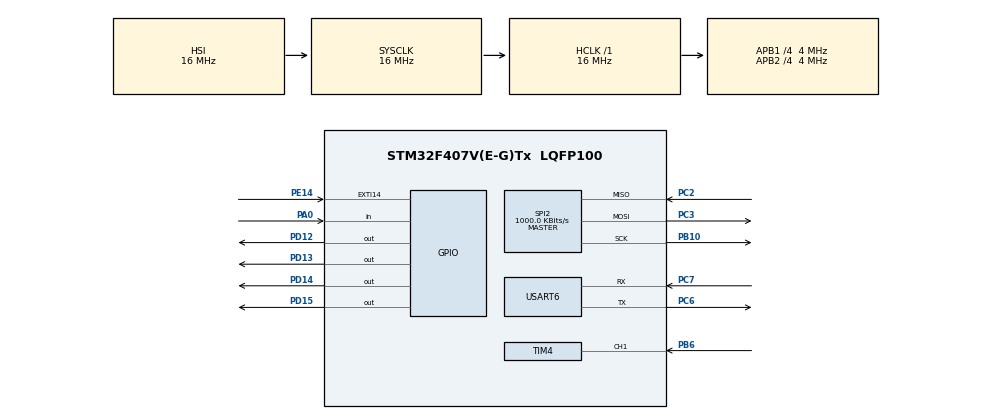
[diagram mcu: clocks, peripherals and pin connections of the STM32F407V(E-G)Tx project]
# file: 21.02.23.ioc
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Mcu.Family=STM32F4
Mcu.Name=STM32F407V(E-G)Tx
Mcu.Package=LQFP100
NVIC.EXTI15_10_IRQn=true\:0\:0\:false\:false\:true\:true\:true\:true
NVIC.PriorityGroup=NVIC_PRIORITYGROUP_0
PA0-WKUP.Signal=GPIO_Input
PA13.Mode=Serial_Wire
PA13.Signal=SYS_JTMS-SWDIO
PA14.Mode=Serial_Wire
PA14.Signal=SYS_JTCK-SWCLK
PB10.Mode=Full_Duplex_Master
PB10.Signal=SPI2_SCK
PB6.Signal=S_TIM4_CH1
PC2.Mode=Full_Duplex_Master
PC2.Signal=SPI2_MISO
PC3.Mode=Full_Duplex_Master
PC3.Signal=SPI2_MOSI
PC6.Mode=Asynchronous
PC6.Signal=USART6_TX
PC7.Mode=Asynchronous
PC7.Signal=USART6_RX
PD12.Signal=GPIO_Output
PD13.Signal=GPIO_Output
PD14.Signal=GPIO_Output
PD15.Signal=GPIO_Output
PE14.Signal=GPXTI14
ProjectManager.HeapSize=0x200
ProjectManager.StackSize=0x400
ProjectManager.TargetToolchain=MDK-ARM V5.32
RCC.48MHZClocksFreq_Value=96000000
RCC.AHBFreq_Value=16000000
RCC.APB1CLKDivider=RCC_HCLK_DIV4
RCC.APB1Freq_Value=4000000
RCC.APB1TimFreq_Value=8000000
RCC.APB2CLKDivider=RCC_HCLK_DIV4
RCC.APB2Freq_Value=4000000
RCC.APB2TimFreq_Value=8000000
RCC.CortexFreq_Value=16000000
RCC.HCLKFreq_Value=16000000
RCC.HSE_VALUE=8000000
RCC.HSI_VALUE=16000000
RCC.LSE_VALUE=32768
RCC.PLLM=8
RCC.PLLN=336
RCC.PLLQ=7
RCC.SYSCLKFreq_VALUE=16000000
RCC.VCOOutputFreq_Value=672000000
SH.S_TIM4_CH1.0=TIM4_CH1,Input_Capture1_from_TI1
SPI2.BaudRatePrescaler=SPI_BAUDRATEPRESCALER_4
SPI2.CalculateBaudRate=1000.0 KBits/s
SPI2.Direction=SPI_DIRECTION_2LINES
SPI2.Mode=SPI_MODE_MASTER
SPI2.VirtualType=VM_MASTER
TIM4.Channel-Input_Capture1_from_TI1=TIM_CHANNEL_1
TIM4.ICFilter_CH1=4
TIM4.ICPolarity_CH1=TIM_INPUTCHANNELPOLARITY_BOTHEDGE
TIM4.Prescaler=16-1
USART6.VirtualMode=VM_ASYNC
VP_TIM4_VS_ClockSourceINT.Mode=Internal
board=STM32F407G-DISC1

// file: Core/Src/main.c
/* USER CODE BEGIN Header */
/**
  ******************************************************************************
  * @file           : main.c
  * @brief          : Main program body
  ******************************************************************************
  * @attention
  *
  * Copyright (c) 2023 STMicroelectronics.
  * All rights reserved.
  *
  * This software is licensed under terms that can be found in the LICENSE file
  * in the root directory of this software component.
  * If no LICENSE file comes with this software, it is provided AS-IS.
  *
  ******************************************************************************
  */
/* USER CODE END Header */
#include "main.h"

/* USER CODE BEGIN Includes */
 #include <stdio.h>
/* USER CODE END Includes */

/* USER CODE BEGIN PTD */
 #define PUTCHAR_PROTOTYPE int fputc(int ch, FILE *f)
/* USER CODE END PTD */

/* USER CODE BEGIN PD */

 /************************************************************
* TDC7200 REGISTER SET ADDRESSES
************************************************************/

#define TDC7200_CONFIG1_REG						        0x00
#define TDC7200_CONFIG2_REG						        0x01
#define TDC7200_INTRPT_STATUS_REG			      	0x02
#define TDC7200_INTRPT_MASK_REG				      	0x03
#define TDC7200_COARSE_COUNTER_OVH_REG		  	0x04
#define TDC7200_COARSE_COUNTER_OVL_REG		  	0x05
#define TDC7200_CLOCK_COUNTER_OVH_REG			    0x06
#define TDC7200_CLOCK_COUNTER_OVL_REG		    	0x07
#define TDC7200_CLOCK_COUNTER_STOP_MASKH_REG	0x08
#define TDC7200_CLOCK_COUNTER_STOP_MASKL_REG	0x09

#define TDC7200_TIME1_REG						          0x10
#define TDC7200_CLOCK_COUNT1_REG				      0x11
#define TDC7200_TIME2_REG						          0x12
#define TDC7200_CLOCK_COUNT2_REG				      0x13
#define TDC7200_TIME3_REG						          0x14
#define TDC7200_CLOCK_COUNT3_REG				      0x15
#define TDC7200_TIME4_REG						          0x16
#define TDC7200_CLOCK_COUNT4_REG				      0x17
#define TDC7200_TIME5_REG						          0x18
#define TDC7200_CLOCK_COUNT5_REG				      0x19
#define TDC7200_TIME6_REG						          0x1A
#define TDC7200_CALIBRATION1_REG				      0x1B
#define TDC7200_CALIBRATION2_REG				      0x1C

#define TDC7200_TOTAL_NUM_CONFIG_REG			    10
#define TDC7200_TOTAL_NUM_RESULT_REG			    39
#define NUM_STOP                              5
#define usTIM TIM4
/* USER CODE END PD */

SPI_HandleTypeDef hspi2;

TIM_HandleTypeDef htim4;

UART_HandleTypeDef huart6;

/* USER CODE BEGIN PV */
	uint8_t b[2],i,upbuff[TDC7200_TOTAL_NUM_RESULT_REG],dnbuff[TDC7200_TOTAL_NUM_RESULT_REG];
	uint8_t TDC7200_reg_local_copy[10] = {0x03, 0x44, 0x00, 0x07, 0xFF, 0xFF, 0xFF, 0xFF, 0x00, 0x00};
	long int uCal[2],uTime[6],uClk[5],dTime[6],dClk[5],dCal[2];
	long double TOF[6],T12=0,T21=0,dTOF,mTOF,vel,flow;
/* USER CODE END PV */

void SystemClock_Config(void);
static void MX_GPIO_Init(void);
static void MX_SPI2_Init(void);
static void MX_USART6_UART_Init(void);
static void MX_TIM4_Init(void);
/* USER CODE BEGIN PFP */
	void TDC7200_reg_read(void);
	void TDC7200_reg_config(void);
	void pulse_gen(void);
	void cal_tof(void);
	void tdc_trigger_measure(void);
	void tdc_trigger_common(uint8_t *buf);
	void usDelay(uint32_t uSec);
//	void AutoReadReg(uint8_t *buffer);

/* USER CODE END PFP */

int main(void)
{

  /* MCU Configuration--------------------------------------------------------*/

  /* Reset of all peripherals, Initializes the Flash interface and the Systick. */
  HAL_Init();

  /* Configure the system clock */
  SystemClock_Config();

  /* Initialize all configured peripherals */
  MX_GPIO_Init();
  MX_SPI2_Init();
  MX_USART6_UART_Init();
  MX_TIM4_Init();
  /* USER CODE BEGIN 2 */
	printf("\n\n\n ");
	printf("\n\r..................................................\n\r ");
	printf("\n\r..........Ultrasonic Water Flow Meter..............\n\r ");

	HAL_GPIO_WritePin(GPIOD, GPIO_PIN_14, GPIO_PIN_RESET);
	HAL_Delay(50);
	HAL_GPIO_WritePin(GPIOD, GPIO_PIN_14, GPIO_PIN_SET);//en
  TDC7200_reg_config();
	//TDC7200_reg_read();
	tdc_trigger_measure();
	//pulse_gen();
	cal_tof();
	//TDC7200_reg_read();
	HAL_GPIO_WritePin(GPIOD, GPIO_PIN_14, GPIO_PIN_RESET);//dis
  /* USER CODE END 2 */

  /* Infinite loop */
	while (1)
	{

	}
}

void SystemClock_Config(void)
{
  RCC_OscInitTypeDef RCC_OscInitStruct = {0};
  RCC_ClkInitTypeDef RCC_ClkInitStruct = {0};

  /** Configure the main internal regulator output voltage
  */
  __HAL_RCC_PWR_CLK_ENABLE();
  __HAL_PWR_VOLTAGESCALING_CONFIG(PWR_REGULATOR_VOLTAGE_SCALE1);

  /** Initializes the RCC Oscillators according to the specified parameters
  * in the RCC_OscInitTypeDef structure.
  */
  RCC_OscInitStruct.OscillatorType = RCC_OSCILLATORTYPE_HSI;
  RCC_OscInitStruct.HSIState = RCC_HSI_ON;
  RCC_OscInitStruct.HSICalibrationValue = RCC_HSICALIBRATION_DEFAULT;
  RCC_OscInitStruct.PLL.PLLState = RCC_PLL_NONE;
  if (HAL_RCC_OscConfig(&RCC_OscInitStruct) != HAL_OK)
  {
    Error_Handler();
  }

  /** Initializes the CPU, AHB and APB buses clocks
  */
  RCC_ClkInitStruct.ClockType = RCC_CLOCKTYPE_HCLK|RCC_CLOCKTYPE_SYSCLK
                              |RCC_CLOCKTYPE_PCLK1|RCC_CLOCKTYPE_PCLK2;
  RCC_ClkInitStruct.SYSCLKSource = RCC_SYSCLKSOURCE_HSI;
  RCC_ClkInitStruct.AHBCLKDivider = RCC_SYSCLK_DIV1;
  RCC_ClkInitStruct.APB1CLKDivider = RCC_HCLK_DIV4;
  RCC_ClkInitStruct.APB2CLKDivider = RCC_HCLK_DIV4;

  if (HAL_RCC_ClockConfig(&RCC_ClkInitStruct, FLASH_LATENCY_0) != HAL_OK)
  {
    Error_Handler();
  }
}

static void MX_SPI2_Init(void)
{

  /* SPI2 parameter configuration*/
  hspi2.Instance = SPI2;
  hspi2.Init.Mode = SPI_MODE_MASTER;
  hspi2.Init.Direction = SPI_DIRECTION_2LINES;
  hspi2.Init.DataSize = SPI_DATASIZE_8BIT;
  hspi2.Init.CLKPolarity = SPI_POLARITY_LOW;
  hspi2.Init.CLKPhase = SPI_PHASE_1EDGE;
  hspi2.Init.NSS = SPI_NSS_SOFT;
  hspi2.Init.BaudRatePrescaler = SPI_BAUDRATEPRESCALER_4;
  hspi2.Init.FirstBit = SPI_FIRSTBIT_MSB;
  hspi2.Init.TIMode = SPI_TIMODE_DISABLE;
  hspi2.Init.CRCCalculation = SPI_CRCCALCULATION_DISABLE;
  hspi2.Init.CRCPolynomial = 10;
  if (HAL_SPI_Init(&hspi2) != HAL_OK)
  {
    Error_Handler();
  }

}

static void MX_TIM4_Init(void)
{

  TIM_ClockConfigTypeDef sClockSourceConfig = {0};
  TIM_MasterConfigTypeDef sMasterConfig = {0};
  TIM_IC_InitTypeDef sConfigIC = {0};

  htim4.Instance = TIM4;
  htim4.Init.Prescaler = 16-1;
  htim4.Init.CounterMode = TIM_COUNTERMODE_UP;
  htim4.Init.Period = 65535;
  htim4.Init.ClockDivision = TIM_CLOCKDIVISION_DIV1;
  htim4.Init.AutoReloadPreload = TIM_AUTORELOAD_PRELOAD_DISABLE;
  if (HAL_TIM_Base_Init(&htim4) != HAL_OK)
  {
    Error_Handler();
  }
  sClockSourceConfig.ClockSource = TIM_CLOCKSOURCE_INTERNAL;
  if (HAL_TIM_ConfigClockSource(&htim4, &sClockSourceConfig) != HAL_OK)
  {
    Error_Handler();
  }
  if (HAL_TIM_IC_Init(&htim4) != HAL_OK)
  {
    Error_Handler();
  }
  sMasterConfig.MasterOutputTrigger = TIM_TRGO_RESET;
  sMasterConfig.MasterSlaveMode = TIM_MASTERSLAVEMODE_DISABLE;
  if (HAL_TIMEx_MasterConfigSynchronization(&htim4, &sMasterConfig) != HAL_OK)
  {
    Error_Handler();
  }
  sConfigIC.ICPolarity = TIM_INPUTCHANNELPOLARITY_BOTHEDGE;
  sConfigIC.ICSelection = TIM_ICSELECTION_DIRECTTI;
  sConfigIC.ICPrescaler = TIM_ICPSC_DIV1;
  sConfigIC.ICFilter = 4;
  if (HAL_TIM_IC_ConfigChannel(&htim4, &sConfigIC, TIM_CHANNEL_1) != HAL_OK)
  {
    Error_Handler();
  }

}

static void MX_USART6_UART_Init(void)
{

  huart6.Instance = USART6;
  huart6.Init.BaudRate = 115200;
  huart6.Init.WordLength = UART_WORDLENGTH_8B;
  huart6.Init.StopBits = UART_STOPBITS_1;
  huart6.Init.Parity = UART_PARITY_NONE;
  huart6.Init.Mode = UART_MODE_TX_RX;
  huart6.Init.HwFlowCtl = UART_HWCONTROL_NONE;
  huart6.Init.OverSampling = UART_OVERSAMPLING_16;
  if (HAL_UART_Init(&huart6) != HAL_OK)
  {
    Error_Handler();
  }

}

static void MX_GPIO_Init(void)
{
  GPIO_InitTypeDef GPIO_InitStruct = {0};

  /* GPIO Ports Clock Enable */
  __HAL_RCC_GPIOC_CLK_ENABLE();
  __HAL_RCC_GPIOA_CLK_ENABLE();
  __HAL_RCC_GPIOE_CLK_ENABLE();
  __HAL_RCC_GPIOB_CLK_ENABLE();
  __HAL_RCC_GPIOD_CLK_ENABLE();

  /*Configure GPIO pin Output Level */
  HAL_GPIO_WritePin(GPIOD, GPIO_PIN_12|GPIO_PIN_13|GPIO_PIN_14|GPIO_PIN_15, GPIO_PIN_RESET);

  /*Configure GPIO pin : PA0 */
  GPIO_InitStruct.Pin = GPIO_PIN_0;
  GPIO_InitStruct.Mode = GPIO_MODE_INPUT;
  GPIO_InitStruct.Pull = GPIO_NOPULL;
  HAL_GPIO_Init(GPIOA, &GPIO_InitStruct);

  /*Configure GPIO pin : PE14 */
  GPIO_InitStruct.Pin = GPIO_PIN_14;
  GPIO_InitStruct.Mode = GPIO_MODE_IT_RISING;
  GPIO_InitStruct.Pull = GPIO_NOPULL;
  HAL_GPIO_Init(GPIOE, &GPIO_InitStruct);

  /*Configure GPIO pins : PD12 PD13 PD14 PD15 */
  GPIO_InitStruct.Pin = GPIO_PIN_12|GPIO_PIN_13|GPIO_PIN_14|GPIO_PIN_15;
  GPIO_InitStruct.Mode = GPIO_MODE_OUTPUT_PP;
  GPIO_InitStruct.Pull = GPIO_NOPULL;
  GPIO_InitStruct.Speed = GPIO_SPEED_FREQ_LOW;
  HAL_GPIO_Init(GPIOD, &GPIO_InitStruct);

  /* EXTI interrupt init*/
  HAL_NVIC_SetPriority(EXTI15_10_IRQn, 0, 0);
  HAL_NVIC_EnableIRQ(EXTI15_10_IRQn);

}

/* USER CODE BEGIN 4 */
void TDC7200_reg_config(void)
{
	//printf("\n\rInitializing TDC7200 Registers.... ");
	HAL_Delay(1);
	b[0]=0x00;
	b[0] |= 0x40 + 0x80;
	HAL_GPIO_WritePin(GPIOD, GPIO_PIN_15, GPIO_PIN_RESET);
  HAL_SPI_Transmit(&hspi2,&b[0] ,1, 50);
	HAL_SPI_Transmit(&hspi2,TDC7200_reg_local_copy,10,100);
  HAL_GPIO_WritePin(GPIOD, GPIO_PIN_15, GPIO_PIN_SET);
}

void TDC7200_reg_read(void)
{

	printf("\n\r TDC_7200 REGISTER AFTER INITIALIZATION");

	b[0]=0x00;
	b[0] |= 0x80;
	HAL_GPIO_WritePin(GPIOD, GPIO_PIN_15, GPIO_PIN_RESET);
	HAL_SPI_Transmit(&hspi2,b ,1, 50);
	HAL_SPI_Receive(&hspi2,&b[1],1, 50);
	printf("\n\r CONFIG1_REG:0x0%x",b[1]);
	HAL_SPI_Receive(&hspi2,&b[1],1, 50);
	printf("\n\r CONFIG2_REG:0x%x",b[1]);
	HAL_SPI_Receive(&hspi2,&b[1],1, 50);
	printf("\n\r INTRPT_STATUS_REG:0x0%x",b[1]);
	HAL_SPI_Receive(&hspi2,&b[1],1, 50);
	printf("\n\r INTRPT_MASK_REG:0x0%x",b[1]);
	HAL_SPI_Receive(&hspi2,&b[1],1, 50);
	printf("\n\r COARSE_COUNTER_OVH_REG:0x%x",b[1]);
	HAL_SPI_Receive(&hspi2,&b[1],1, 50);
	printf("\n\r COARSE_COUNTER_OVL_REG:0x%x",b[1]);
	HAL_SPI_Receive(&hspi2,&b[1],1, 50);
	printf("\n\r CLOCK_COUNTER_OVH_REG:0x%x",b[1]);
	HAL_SPI_Receive(&hspi2,&b[1],1, 50);
	printf("\n\r CLOCK_COUNTER_OVL_REG:0x%x",b[1]);
	HAL_SPI_Receive(&hspi2,&b[1],1, 50);
	printf("\n\r CLOCK_COUNTER_STOP_MASKH_REG:0x0%x",b[1]);
	HAL_SPI_Receive(&hspi2,&b[1],1, 50);
	printf("\n\r CLOCK_COUNTER_STOP_MASKL_REG:0x0%x",b[1]);
	HAL_GPIO_WritePin(GPIOD, GPIO_PIN_15, GPIO_PIN_SET);
  HAL_Delay(500);

}

//void AutoReadReg(uint8_t *buffer)
//{
//	buffer[0]=0x10;
//	buffer[0] |= 0x80;
//	HAL_GPIO_WritePin(GPIOD, GPIO_PIN_15, GPIO_PIN_RESET);
//	HAL_SPI_Transmit(&hspi2,buffer ,1, 50);
//	HAL_SPI_Receive(&hspi2,buffer,TDC7200_TOTAL_NUM_RESULT_REG, 50);                            // Read result registers
//	HAL_GPIO_WritePin(GPIOD, GPIO_PIN_15, GPIO_PIN_SET);
//  HAL_Delay(500);
//}

void cal_tof(void)
{
	//TOF Calculation

	for (i=0; i<6; i++)
	{
	uTime[i]=0;
	uTime[i]=upbuff[6*i];
	uTime[i] <<= 8;
	uTime[i]  += upbuff[6*i +1];
	uTime[i] <<= 8;
	uTime[i]  += upbuff[6*i + 2];

	dTime[i]   = 0;
	dTime[i]   = dnbuff[6*i];
	dTime[i] <<= 8;
	dTime[i]  += dnbuff[6*i + 1];
	dTime[i] <<= 8;
	dTime[i]  += dnbuff[6*i + 2];
	}

 for (i=0; i<5; i++)
 {
	uClk[i]   = 0;
	uClk[i]   = upbuff[6*i + 3];
	uClk[i] <<= 8;
	uClk[i]  += upbuff[6*i + 4];
	uClk[i] <<= 8;
	uClk[i]  += upbuff[6*i + 5];

	dClk[i]   = 0;
	dClk[i]   = dnbuff[6*i + 3];
	dClk[i] <<= 8;
	dClk[i]  += dnbuff[6*i + 4];
	dClk[i] <<= 8;
	dClk[i]  += dnbuff[6*i + 5];
 }

 for (i=0; i<2; i++)
 {
	uCal[i]   = 0;
	uCal[i]   = upbuff[33 + i*3];
	uCal[i] <<= 8;
	uCal[i]  += upbuff[34 + i*3];
	uCal[i] <<= 8;
	uCal[i]  += upbuff[35 + i*3];

	dCal[i]   = 0;
	dCal[i]   = dnbuff[33 + i*3 ];
	dCal[i] <<= 8;
	dCal[i]  += dnbuff[34 + i*3];
	dCal[i] <<= 8;
	dCal[i]  += dnbuff[35 + i*3];
 }
// 	printf("\n\r time 1:0x0%ld",uTime[0]);
//	printf("\n\r time 2:0x0%ld",uTime[1]);
//	printf("\n\r time 3:0x0%ld",uTime[2]);
//	printf("\n\r time 4:0x0%ld",uTime[3]);
//	printf("\n\r time 5:0x0%ld",uTime[4]);
//	printf("\n\r time 6:0x0%ld",uTime[5]);
//	printf("\n\r clock count 1:0x0%ld",uClk[0]);
//	printf("\n\r clock count 2:0x0%ld",uClk[1]);
//	printf("\n\r clock count 3:0x0%ld",uClk[2]);
//	printf("\n\r clock count 4:0x0%ld",uClk[3]);
//	printf("\n\r clock count 5:0x0%ld",uClk[4]);
//	printf("\n\r cal 1:0x0%ld",uCal[0]);
//	printf("\n\r cal 2:0x0%ld",uCal[1]);
//
//	printf("\n\r time 1:0x0%ld",dTime[0]);
//	printf("\n\r time 2:0x0%ld",dTime[1]);
//	printf("\n\r time 3:0x0%ld",dTime[2]);
//	printf("\n\r time 4:0x0%ld",dTime[3]);
//	printf("\n\r time 5:0x0%ld",dTime[4]);
//	printf("\n\r time 6:0x0%ld",dTime[5]);
//	printf("\n\r clock count 1:0x0%ld",dClk[0]);
//	printf("\n\r clock count 2:0x0%ld",dClk[1]);
//	printf("\n\r clock count 3:0x0%ld",dClk[2]);
//	printf("\n\r clock count 4:0x0%ld",dClk[3]);
//	printf("\n\r clock count 5:0x0%ld",dClk[4]);
//	printf("\n\r cal 1:0x0%ld",dCal[0]);
//	printf("\n\r cal 2:0x0%ld",dCal[1]);

 for (int i = 0; i<6; i++)
 {
	 TOF[i] = 9*0.125e-6 / (uCal[1] - uCal[0]);
	 TOF[i]= (uTime[i] - uTime[i+1])*TOF[i] + uClk[i]*0.125e-6;
	 T12 += TOF[i];
//	 mTOF=TOF[i]*1000;
//	 printf("\n\r UP TOF= %Lf s",TOF[i]);
//	 printf("\n\r UP TOF(in ms)= %Lf ms",mTOF);
 }

 T12 = T12/5;  // Upstream TIme of Flight
 printf("\n\r T12 = %Lf \n\n",T12);

 for (int i = 0; i<6; i++)
 {
	 TOF[i] = 9*0.125e-6 / (dCal[1] - dCal[0]);
	 TOF[i]= (dTime[i] - dTime[i+1])*TOF[i] + dClk[i]*0.125e-6;
	 T21 += TOF[i];
//	 mTOF=TOF[i]*1000;
//	 printf("\n\r DN TOF= %Lf s",TOF[i]);
//	 printf("\n\r DN TOF(in ms)= %Lf ms",mTOF);
 }
 T21 = T21/5;   // Downstream Time of Flight
 printf("\n\r T21 = %Lf \n\n",T21);
 dTOF = (T21 - T12);
 printf("\n\r dTOF = %Lf \n\n",dTOF);
 vel = 0.031*(dTOF/T21*T12);
 printf("\n\r Velocity of Water = %Lf m/s\n\n",vel);
 flow = (((22/7)*((0.015*0.015)/4))*vel)*1000000;
 printf("\n\r Water Flow = %Lf mL/s \n\n",flow);
}

void pulse_gen(void)
{

// Pulse Generation

	HAL_GPIO_WritePin(GPIOD, GPIO_PIN_13, GPIO_PIN_SET);    // start pulse
	usDelay(5);
	HAL_GPIO_WritePin(GPIOD, GPIO_PIN_13, GPIO_PIN_RESET);

	//usDelay(10);    //timeGap
	HAL_Delay(2);
	for(i=1; i<=NUM_STOP; i++)
	{

	HAL_GPIO_WritePin(GPIOD, GPIO_PIN_12, GPIO_PIN_SET);    // stop_pluse
	usDelay(5);
	HAL_GPIO_WritePin(GPIOD, GPIO_PIN_12, GPIO_PIN_RESET);
	usDelay(5);
	}

}

void usDelay(uint32_t uSec)
{
	if(uSec < 2) uSec = 2;
	usTIM->ARR = uSec - 1; 	/*sets the value in the auto-reload register*/
	usTIM->EGR = 1; 			/*Re-initialises the timer*/
	usTIM->SR &= ~1; 		//Resets the flag
	usTIM->CR1 |= 1; 		//Enables the counter
	while((usTIM->SR&0x0001) != 1);
	usTIM->SR &= ~(0x0001);
}

void tdc_trigger_common(uint8_t *buf)
{
	uint8_t byte_data[2];
	byte_data[0] =  TDC7200_CONFIG1_REG;
	byte_data[1] = TDC7200_reg_local_copy[0];
	byte_data[1] |= 0x01;                                                // Start measurement
	HAL_GPIO_WritePin(GPIOD, GPIO_PIN_15, GPIO_PIN_RESET);
  HAL_SPI_Transmit(&hspi2,byte_data ,2, 50);
  HAL_GPIO_WritePin(GPIOD, GPIO_PIN_15, GPIO_PIN_SET);
	pulse_gen();
	buf[0]=0x10;
	buf[0] |= 0x80;
	HAL_GPIO_WritePin(GPIOD, GPIO_PIN_15, GPIO_PIN_RESET);
	HAL_SPI_Transmit(&hspi2,buf ,1, 50);
	HAL_SPI_Receive(&hspi2,buf,TDC7200_TOTAL_NUM_RESULT_REG, 50);       // Read result registers
	HAL_GPIO_WritePin(GPIOD, GPIO_PIN_15, GPIO_PIN_SET);
	HAL_Delay(500);
}

void tdc_trigger_measure(void)
{
	uint8_t byte_data[2];
	byte_data[0] = TDC7200_INTRPT_STATUS_REG;
	byte_data[1] = 0x1F;
	HAL_GPIO_WritePin(GPIOD, GPIO_PIN_15, GPIO_PIN_RESET);
  HAL_SPI_Transmit(&hspi2,byte_data ,2, 50);      // clear error flags and reset state machine
  HAL_GPIO_WritePin(GPIOD, GPIO_PIN_15, GPIO_PIN_SET);
	tdc_trigger_common(upbuff);
	tdc_trigger_common(dnbuff);
}

PUTCHAR_PROTOTYPE
{
  HAL_UART_Transmit(&huart6, (uint8_t *)&ch, 1, 0xFFFF);
  return ch;
}

/* USER CODE END 4 */

void Error_Handler(void)
{
  __disable_irq();
  while (1)
  {
  }
}
